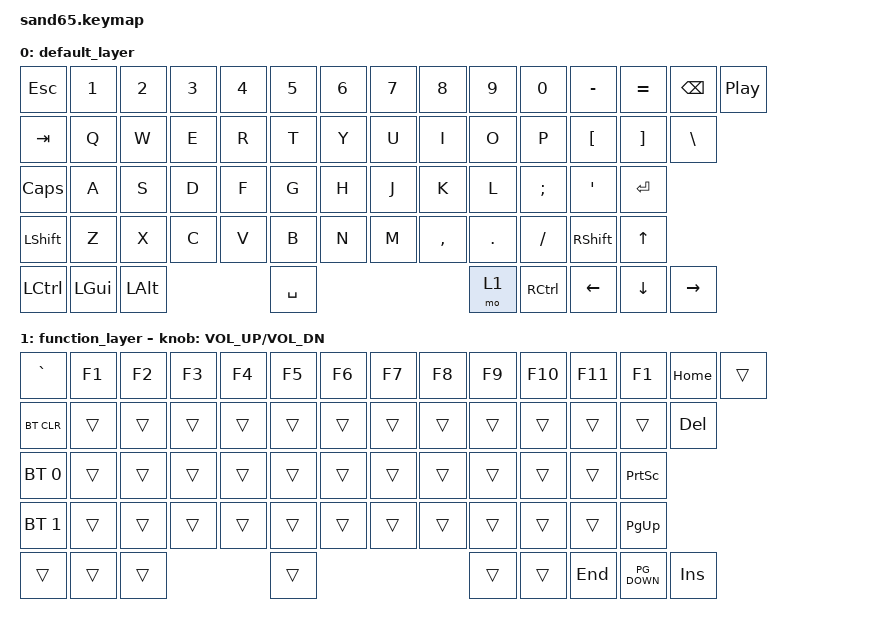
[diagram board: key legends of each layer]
#include <behaviors.dtsi>
#include <dt-bindings/zmk/keys.h>
#include <dt-bindings/zmk/bt.h>
#include <dt-bindings/zmk/outputs.h>

/ {
        keymap {
                compatible = "zmk,keymap";

                default_layer {

                        bindings = <
   &kp ESC      &kp N1       &kp N2       &kp N3       &kp N4       &kp N5       &kp N6       &kp N7       &kp N8       &kp N9       &kp N0       &kp MINUS    &kp EQUAL    &kp BSPC    &kp C_PP
   &kp TAB      &kp Q        &kp W        &kp E        &kp R        &kp T        &kp Y        &kp U        &kp I        &kp O        &kp P        &kp LBKT     &kp RBKT     &kp BSLH
   &kp CAPS     &kp A        &kp S        &kp D        &kp F        &kp G        &kp H        &kp J        &kp K        &kp L        &kp SEMI     &kp SQT      &kp ENTER                    
   &kp LSHFT    &kp Z        &kp X        &kp C        &kp V        &kp B        &kp N        &kp M        &kp COMMA    &kp DOT      &kp SLASH    &kp RSHIFT   & UP
   &kp LCTRL    &kp LGUI     &kp LALT                                 &kp SPACE                                         &mo 1        &kp RCTRL    &kp LEFT     &kp DOWN     &kp RIGHT 
                                >;
                        };

                function_layer {

                        bindings = <
   &kp GRAVE    &kp F1       &kp F2       &kp F3       &kp F4       &kp F5       &kp F6       &kp F7       &kp F8       &kp F9       &kp F10      &kp F11      &kp F1       &kp HOME    &trans
   &bt BT_CLR   &trans       &trans       &trans       &trans       &trans       &trans       &trans       &trans       &trans       &trans       &trans       &trans       &kp DEL
   &bt BT_SEL 0 &trans       &trans       &trans       &trans       &trans       &trans       &trans       &trans       &trans       &trans       &trans       &kp PSCRN                   
   &bt BT_SEL 1 &trans       &trans       &trans       &trans       &trans       &trans       &trans       &trans       &trans       &trans       &trans       &kp PG_UP
   &trans       &trans       &trans                                   &trans                                            &trans       &trans       &kp END      &kp PG_DOWN  &kp INS 
                                >;
                                
                                sensor-bindings = <&inc_dec_kp C_VOL_UP C_VOL_DN>;
                        };
        };
};
